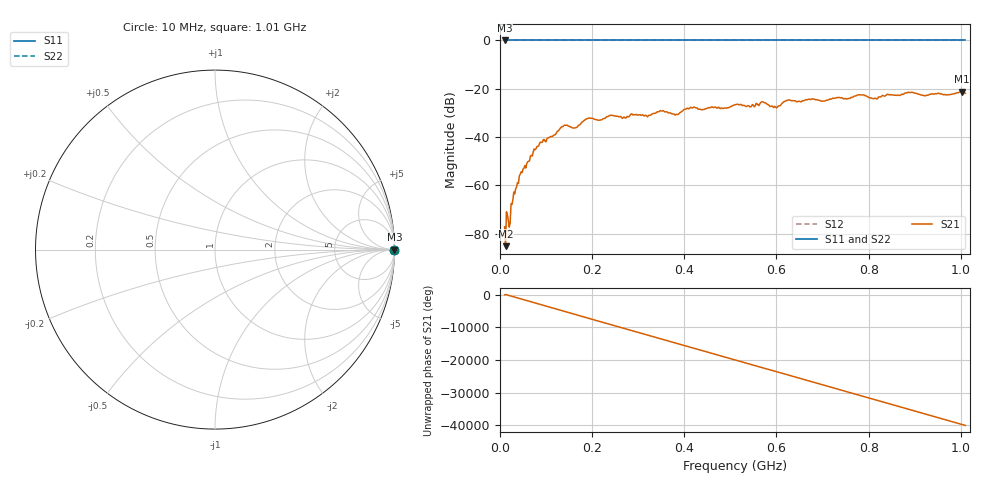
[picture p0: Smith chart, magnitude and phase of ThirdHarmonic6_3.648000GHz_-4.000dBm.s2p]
! 8/17/2025 12:16:24 PM
! C:\ANRITSUVNA\TEMP\TEMP.S2P
! CHANNEL.1
! TR.MEASUREMENT
! RAW.DATA
! RF.CORRECTION.OFF
! AVERAGING.OFF
! IF.BANDWIDTH: 5KHZ
! SWEEPTYPE:  FREQ.SWEEP(Linear)
! Reference Plane Port Info
! PORT:  PORT1  PORT2
! DISTANCE:  0  m  0  m
! TIME:  0  s  0  s
! PHASE.OFFSET:  0  deg.  0  deg.
! LOSS:  0  dB  0  dB
! REF.LOSS:  0  dB  0  dB
! REF.FREQ:  0  Hz  0  Hz
! Power Info
! POWER:  -20  dBm  -20  dBm
! EFF.POWER:  -20  dBm  -20  dBm
! SOURCE.ATTEN:  0  dB  0  dB
! TEST.ATTEN:  0  dB  0  dB
# GHZ S RI R 50.0
! FREQ.GHZ  S11RE  S11IM  S21RE  S21IM  S12RE  S12IM  S22RE  S22IM
!; PortSelection: Port_12
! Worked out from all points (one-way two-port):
!   501 points, 10 MHz to 1.01 GHz, reference 50 ohm
!   highest |S21| = -21.19 dB at 1.002 GHz (marker M1); lowest = -85.2 dB at 12 MHz (marker M2)
!   lowest |S11| = 0.0 dB at 10 MHz (marker M3)
!   |S11| at or under -10 dB: nowhere
!   |S22| runs from 0.0 to 0.0 dB; largest |S21 - S12| = 1.1
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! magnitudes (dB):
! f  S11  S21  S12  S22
! 10 MHz  0.0  -77.1  0.0  0.0
! 12 MHz  0.0  -85.2  0.0  0.0
! 22 MHz  0.0  -75.7  0.0  0.0
! 28 MHz  0.0  -65.9  0.0  0.0
! 46 MHz  0.0  -54.4  0.0  0.0
! 76 MHz  0.0  -45.3  0.0  0.0
! 136 MHz  0.0  -35.7  0.0  0.0
! 162 MHz  0.0  -36.2  0.0  0.0
! 178 MHz  0.0  -33.8  0.0  0.0
! 344 MHz  0.0  -29.6  0.0  0.0
! 384 MHz  0.0  -30.6  0.0  0.0
! 416 MHz  0.0  -27.9  0.0  0.0
! 510 MHz  0.0  -26.6  0.0  0.0
! 570 MHz  0.0  -25.4  0.0  0.0
! 598 MHz  0.0  -27.6  0.0  0.0
! 624 MHz  0.0  -24.7  0.0  0.0
! 678 MHz  0.0  -24.2  0.0  0.0
! 782 MHz  0.0  -22.5  0.0  0.0
! 814 MHz  0.0  -23.9  0.0  0.0
! 844 MHz  0.0  -22.5  0.0  0.0
! 1.002 GHz  0.0  -21.2  0.0  0.0
! 1.01 GHz  0.0  -21.9  0.0  0.0
